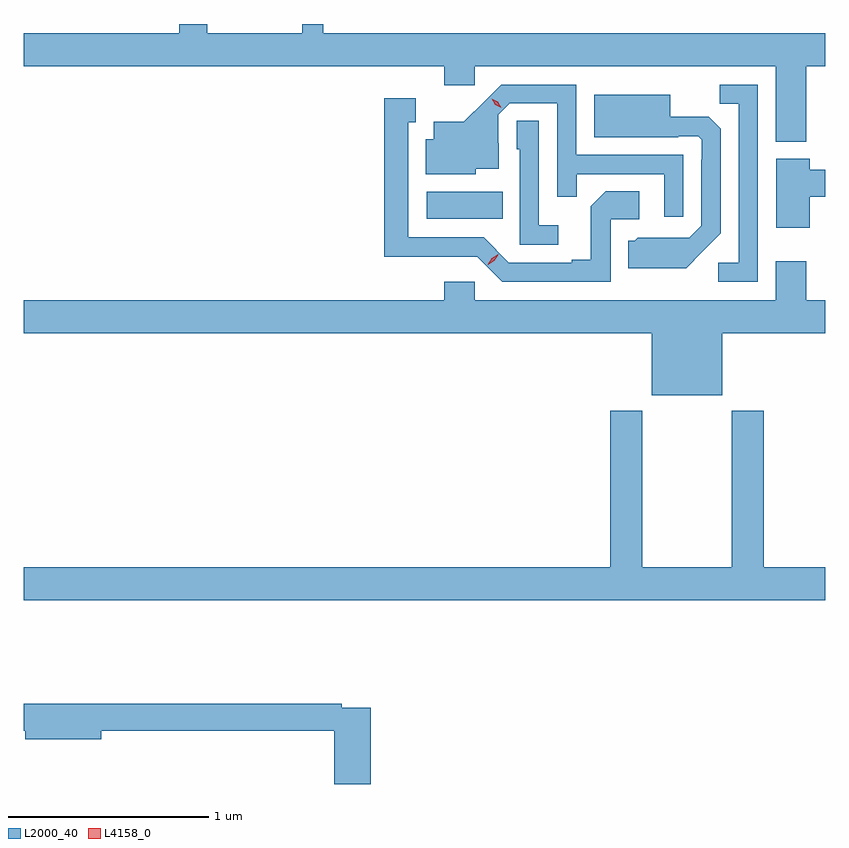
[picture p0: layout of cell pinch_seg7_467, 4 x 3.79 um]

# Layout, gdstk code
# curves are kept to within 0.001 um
import gdstk
lib = gdstk.Library(unit=1e-6, precision=1e-09)
def R(c, l, rs):  # rectangles x0, y0, x1, y1
    for r in rs: c.add(gdstk.rectangle(r[:2], r[2:], *l))
def P(c, l, *ps):  # polygons
    for p in ps: c.add(gdstk.Polygon(p, *l))
L2000_40 = (2000, 40)
L4158_0 = (4158, 0)

pinch_seg7_467 = lib.new_cell('pinch_seg7_467')
R(pinch_seg7_467, L2000_40, [(185.328,1062.458,185.708,1062.592)])
P(pinch_seg7_467, L2000_40, [(187.223,1063.22),(187.318,1063.22),(187.318,1063.384),(184.813,1063.384),(184.813,1063.43),(184.709,1063.43),(184.709,1063.384),(184.234,1063.384),(184.234,1063.43),(184.095,1063.43),(184.095,1063.384),(183.318,1063.384),(183.318,1063.22),(185.417,1063.22),(185.417,1063.125),(185.568,1063.125),(185.568,1063.22),(187.07,1063.22),(187.07,1062.842),(187.223,1062.842)],
  [(186.981,1063.128),(186.79,1063.128),(186.79,1063.033),(186.885,1063.033),(186.885,1062.24),(186.783,1062.24),(186.783,1062.144),(186.981,1062.144)],
  [(186.609,1062.777),(186.075,1062.777),(186.075,1063.128),(185.702,1063.128),(185.515,1062.943),(185.363,1062.943),(185.363,1062.856),(185.324,1062.856),(185.324,1062.68),(185.574,1062.68),(185.574,1062.707),(185.689,1062.707),(185.689,1062.836),(185.685,1062.836),(185.685,1062.978),(185.742,1063.035),(185.979,1063.035),(185.979,1062.568),(186.077,1062.568),(186.077,1062.681),(186.513,1062.681),(186.513,1062.468),(186.609,1062.468)],
  [(186.703,1062.293),(186.795,1062.386),(186.795,1062.908),(186.736,1062.967),(186.544,1062.967),(186.544,1063.078),(186.164,1063.078),(186.164,1062.866),(186.584,1062.866),(186.584,1062.87),(186.684,1062.87),(186.702,1062.852),(186.702,1062.752),(186.699,1062.752),(186.699,1062.423),(186.639,1062.363),(186.382,1062.364),(186.366,1062.348),(186.335,1062.348),(186.335,1062.212),(186.623,1062.212)],
  [(186.246,1062.456),(186.388,1062.456),(186.388,1062.596),(186.223,1062.596),(186.147,1062.52),(186.147,1062.253),(186.053,1062.253),(186.053,1062.24),(185.739,1062.24),(185.613,1062.366),(185.236,1062.366),(185.236,1062.939),(185.275,1062.939),(185.275,1063.06),(185.118,1063.06),(185.118,1062.269),(185.58,1062.27),(185.706,1062.144),(186.246,1062.144)],
  [(185.986,1062.427),(185.889,1062.427),(185.889,1062.947),(185.778,1062.947),(185.778,1062.804),(185.793,1062.804),(185.793,1062.33),(185.986,1062.33)],
  [(187.24,1062.568),(187.318,1062.568),(187.318,1062.704),(187.24,1062.704),(187.24,1062.757),(187.073,1062.757),(187.073,1062.414),(187.24,1062.414)],
  [(186.802,1061.888),(187.318,1061.888),(187.318,1062.052),(187.223,1062.052),(187.223,1062.247),(187.07,1062.247),(187.07,1062.052),(185.568,1062.052),(185.568,1062.145),(185.417,1062.145),(185.417,1062.052),(183.318,1062.052),(183.318,1061.888),(186.452,1061.888),(186.452,1061.579),(186.802,1061.579)],
  [(187.318,1060.72),(187.01,1060.72),(187.01,1061.5),(186.85,1061.5),(186.85,1060.72),(186.405,1060.72),(186.405,1061.5),(186.245,1061.5),(186.245,1060.72),(183.318,1060.72),(183.318,1060.556),(187.318,1060.556)],
  [(185.051,1060.02),(184.904,1060.02),(184.904,1060.04),(183.318,1060.04),(183.318,1059.904),(183.326,1059.904),(183.326,1059.862),(183.706,1059.862),(183.706,1059.904),(184.868,1059.904),(184.868,1059.639),(185.051,1059.639)])
P(pinch_seg7_467, L4158_0, [(185.701,1063.011),(185.67,1063.026),(185.653,1063.056),(185.653,1063.056),(185.653,1063.056),(185.684,1063.041),(185.702,1063.011),(185.702,1063.011)],
  [(185.634,1062.23),(185.634,1062.23),(185.653,1062.262),(185.685,1062.281),(185.685,1062.281),(185.685,1062.28),(185.667,1062.248),(185.635,1062.23)])

lib.write_gds('pinch_seg7_467.gds')
